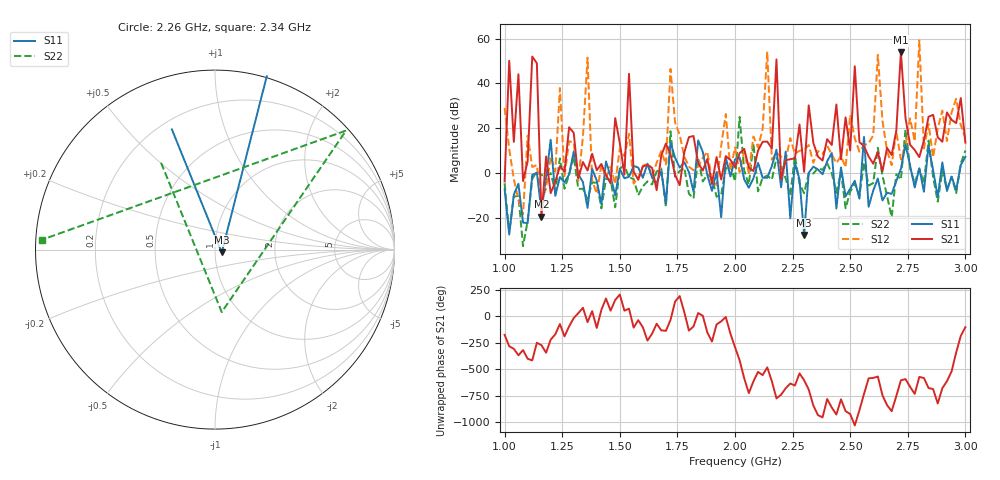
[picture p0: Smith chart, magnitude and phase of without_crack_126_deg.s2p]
# MHz S MA R 50
!  freq  S11  S21  S12  S22
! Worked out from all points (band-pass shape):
!   101 points, 1 GHz to 3 GHz, reference 50 ohm
!   highest |S21| = 54.00 dB at 2.72 GHz (marker M1); lowest = -19.6 dB at 1.16 GHz (marker M2)
!   |S21| within 3 dB of the highest: 1.12 GHz to 1.127 GHz (7.509 MHz wide, 0.668 % of centre); 2.718299 GHz to 2.722038 GHz (3.739 MHz wide, 0.137 % of centre)
!   lowest |S11| = -27.8 dB at 2.3 GHz (marker M3), VSWR 1.09, Z = 53.9 - j1.74 ohm
!   |S11| at or under -10 dB: 1.003 GHz to 1.04 GHz (37.05 MHz wide, 3.63 % of centre); 1.066 GHz to 1.112 GHz (45.64 MHz wide, 4.19 % of centre); 1.152 GHz to 1.17 GHz (17.91 MHz wide, 1.54 % of centre) (the widest 3 of 17)
!   |S22| runs from -32.8 to 25.0 dB; largest |S21 - S12| = 9.2e+02
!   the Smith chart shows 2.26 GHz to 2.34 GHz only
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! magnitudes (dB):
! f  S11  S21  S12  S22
! 1 GHz  -7.3  -3.8  29.1  -4.7
! 1.02 GHz  -27.6  50.2  10.8  -26.3
! 1.08 GHz  -22.3  -3.7  -18.6  -32.8
! 1.12 GHz  -0.9  52.0  2.6  -2.7
! 1.16 GHz  -17.3  -19.6  -12.9  -1.0
! 1.24 GHz  -1.9  3.0  38.0  6.5
! 1.34 GHz  -4.1  4.9  16.2  -7.1
! 1.52 GHz  -2.4  -0.8  7.5  3.4
! 1.54 GHz  -1.8  44.3  17.5  -2.0
! 1.68 GHz  0.7  7.7  9.8  2.0
! 2 GHz  6.0  2.5  11.4  -3.8
! 2.14 GHz  -2.2  14.0  54.3  -1.2
! 2.18 GHz  10.4  50.8  9.0  6.7
! 2.2 GHz  -6.4  -2.9  7.3  3.3
! 2.3 GHz  -27.8  0.5  10.5  -9.1
! 2.34 GHz  2.8  13.5  4.5  -0.3
! 2.62 GHz  -2.5  9.4  52.8  11.2
! 2.68 GHz  -9.4  8.0  3.5  -19.9
! 2.72 GHz  1.8  54.0  6.1  -3.0
! 2.8 GHz  2.1  7.1  59.3  1.8
! 2.82 GHz  -8.4  14.4  11.0  -4.6
! 3 GHz  7.2  13.5  15.7  10.0
